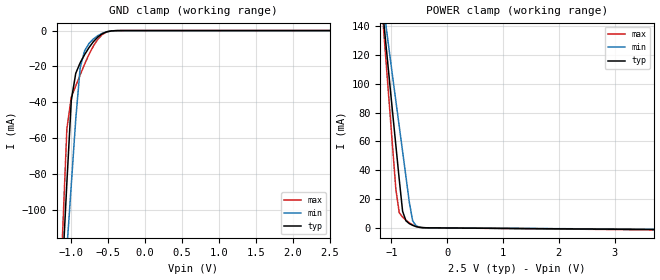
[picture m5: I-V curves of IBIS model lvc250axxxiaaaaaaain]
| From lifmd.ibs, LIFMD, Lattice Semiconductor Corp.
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|   Model lvc250axxxiaaaaaaain
[Model] lvc250axxxiaaaaaaain
Model_type Input
Polarity   Non-Inverting
Vinl =  0.700V
Vinh =  1.700V
C_comp   5.000pF   4.000pF   5.500pF
[Temperature Range]   25.000   0.125k   -40.000
[Voltage Range]   2.500V   2.380V   2.630V
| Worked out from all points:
|   GND clamp passes 1 mA (typ) near -0.54 V on its own axis
|   POWER clamp passes 1 mA (typ) near -0.56 V on its own axis
[GND_clamp]
|Voltage   I(typ)   I(min)   I(max)
-2.5V     -1.281A    -1.016A    -1.577A
-1.12V    -133.9mA   -158.5mA   -115.2mA
-1.06V    -84.89mA   -122.1mA   -54.78mA
-1V       -38.92mA   -85.86mA   -37.12mA
-940mV    -23.86mA   -49.53mA   -30.9mA
-880mV    -17.98mA   -20.76mA   -24.78mA
-820mV    -13.41mA   -11.25mA   -18.74mA
-760mV    -9.456mA   -7.171mA   -13.25mA
-640mV    -3.551mA   -2.801mA   -4.802mA
-520mV    -678.8uA   -668.4uA   -731.3uA
-400mV    -43.49uA   -63.53uA   -34.37uA
2.5V      0A         0A         0A
[POWER_clamp]
|Voltage   I(typ)   I(min)   I(max)
-2.5V     738.4mA    604.6mA    887.7mA
-1.16V    151.7mA    158.7mA    147.8mA
-1.1V     127.7mA    140.8mA    117.1mA
-1.04V    104mA      123mA      86.66mA
-920mV    56.89mA    87.78mA    26.5mA
-860mV    33.63mA    70.5mA     10.57mA
-800mV    11.56mA    53.05mA    7.541mA
-740mV    4.955mA    35.46mA    5.413mA
-680mV    3.011mA    17.96mA    3.599mA
-620mV    1.817mA    4.988mA    2.138mA
-380mV    123.7uA    130.4uA    143.8uA
5V        -1.458mA   -1.208mA   -1.806mA
